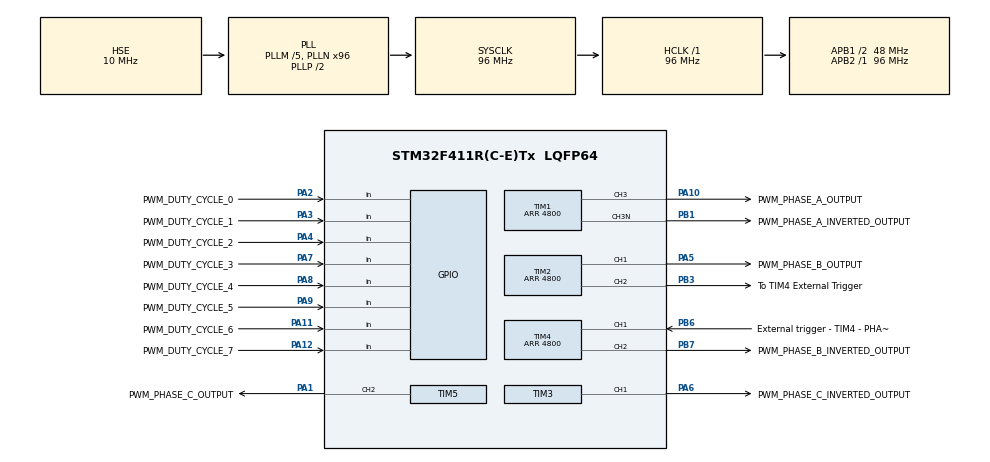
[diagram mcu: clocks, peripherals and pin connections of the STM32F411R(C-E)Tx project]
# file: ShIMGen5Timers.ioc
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Dma.MEMTOMEM.0.Direction=DMA_MEMORY_TO_MEMORY
Dma.MEMTOMEM.0.FIFOMode=DMA_FIFOMODE_ENABLE
Dma.MEMTOMEM.0.FIFOThreshold=DMA_FIFO_THRESHOLD_FULL
Dma.MEMTOMEM.0.Instance=DMA2_Stream1
Dma.MEMTOMEM.0.MemBurst=DMA_MBURST_SINGLE
Dma.MEMTOMEM.0.MemDataAlignment=DMA_MDATAALIGN_WORD
Dma.MEMTOMEM.0.MemInc=DMA_MINC_ENABLE
Dma.MEMTOMEM.0.Mode=DMA_NORMAL
Dma.MEMTOMEM.0.PeriphBurst=DMA_PBURST_SINGLE
Dma.MEMTOMEM.0.PeriphDataAlignment=DMA_PDATAALIGN_WORD
Dma.MEMTOMEM.0.PeriphInc=DMA_PINC_ENABLE
Dma.MEMTOMEM.0.Priority=DMA_PRIORITY_MEDIUM
Dma.Request0=MEMTOMEM
Dma.Request1=TIM5_CH2
Dma.Request2=TIM1_CH1/CH2/CH3
Dma.Request3=TIM2_CH1
Dma.TIM1_CH1/CH2/CH3.2.Direction=DMA_MEMORY_TO_PERIPH
Dma.TIM1_CH1/CH2/CH3.2.FIFOMode=DMA_FIFOMODE_DISABLE
Dma.TIM1_CH1/CH2/CH3.2.Instance=DMA2_Stream6
Dma.TIM1_CH1/CH2/CH3.2.MemDataAlignment=DMA_MDATAALIGN_HALFWORD
Dma.TIM1_CH1/CH2/CH3.2.MemInc=DMA_MINC_ENABLE
Dma.TIM1_CH1/CH2/CH3.2.Mode=DMA_NORMAL
Dma.TIM1_CH1/CH2/CH3.2.PeriphDataAlignment=DMA_PDATAALIGN_HALFWORD
Dma.TIM1_CH1/CH2/CH3.2.PeriphInc=DMA_PINC_DISABLE
Dma.TIM1_CH1/CH2/CH3.2.Priority=DMA_PRIORITY_LOW
Dma.TIM2_CH1.3.Direction=DMA_MEMORY_TO_PERIPH
Dma.TIM2_CH1.3.FIFOMode=DMA_FIFOMODE_DISABLE
Dma.TIM2_CH1.3.Instance=DMA1_Stream5
Dma.TIM2_CH1.3.MemDataAlignment=DMA_MDATAALIGN_HALFWORD
Dma.TIM2_CH1.3.MemInc=DMA_MINC_DISABLE
Dma.TIM2_CH1.3.Mode=DMA_NORMAL
Dma.TIM2_CH1.3.PeriphDataAlignment=DMA_PDATAALIGN_HALFWORD
Dma.TIM2_CH1.3.PeriphInc=DMA_PINC_DISABLE
Dma.TIM2_CH1.3.Priority=DMA_PRIORITY_LOW
Dma.TIM5_CH2.1.Direction=DMA_MEMORY_TO_PERIPH
Dma.TIM5_CH2.1.FIFOMode=DMA_FIFOMODE_DISABLE
Dma.TIM5_CH2.1.Instance=DMA1_Stream4
Dma.TIM5_CH2.1.MemDataAlignment=DMA_MDATAALIGN_HALFWORD
Dma.TIM5_CH2.1.MemInc=DMA_MINC_DISABLE
Dma.TIM5_CH2.1.Mode=DMA_NORMAL
Dma.TIM5_CH2.1.PeriphDataAlignment=DMA_PDATAALIGN_HALFWORD
Dma.TIM5_CH2.1.PeriphInc=DMA_PINC_DISABLE
Dma.TIM5_CH2.1.Priority=DMA_PRIORITY_LOW
Mcu.Family=STM32F4
Mcu.Name=STM32F411R(C-E)Tx
Mcu.Package=LQFP64
NVIC.DMA1_Stream4_IRQn=true\:0\:0\:false\:false\:true
NVIC.DMA1_Stream5_IRQn=true\:0\:0\:false\:false\:true
NVIC.DMA2_Stream6_IRQn=true\:0\:0\:false\:false\:true
NVIC.PriorityGroup=NVIC_PRIORITYGROUP_0
NVIC.TIM1_TRG_COM_TIM11_IRQn=true\:0\:0\:false\:false\:true
PA1.GPIO_Label=PWM_PHASE_C_OUTPUT
PA1.Signal=S_TIM5_CH2
PA10.GPIO_Label=PWM_PHASE_A_OUTPUT
PA10.Signal=S_TIM1_CH3
PA11.GPIO_Label=PWM_DUTY_CYCLE_6
PA11.GPIO_Mode=GPIO_MODE_INPUT
PA11.GPIO_PuPd=GPIO_PULLUP
PA11.Signal=GPIO_Input
PA12.GPIO_Label=PWM_DUTY_CYCLE_7
PA12.GPIO_Mode=GPIO_MODE_INPUT
PA12.GPIO_PuPd=GPIO_PULLUP
PA12.Signal=GPIO_Input
PA2.GPIO_Label=PWM_DUTY_CYCLE_0
PA2.GPIO_Mode=GPIO_MODE_INPUT
PA2.GPIO_PuPd=GPIO_PULLUP
PA2.Signal=GPIO_Input
PA3.GPIO_Label=PWM_DUTY_CYCLE_1
PA3.GPIO_Mode=GPIO_MODE_INPUT
PA3.GPIO_PuPd=GPIO_PULLUP
PA3.Signal=GPIO_Input
PA4.GPIO_Label=PWM_DUTY_CYCLE_2
PA4.GPIO_Mode=GPIO_MODE_INPUT
PA4.GPIO_PuPd=GPIO_PULLUP
PA4.Signal=GPIO_Input
PA5.GPIO_Label=PWM_PHASE_B_OUTPUT
PA5.Signal=S_TIM2_CH1_ETR
PA6.GPIO_Label=PWM_PHASE_C_INVERTED_OUTPUT
PA6.Signal=S_TIM3_CH1
PA7.GPIO_Label=PWM_DUTY_CYCLE_3
PA7.GPIO_Mode=GPIO_MODE_INPUT
PA7.GPIO_PuPd=GPIO_PULLUP
PA7.Signal=GPIO_Input
PA8.GPIO_Label=PWM_DUTY_CYCLE_4
PA8.GPIO_Mode=GPIO_MODE_INPUT
PA8.GPIO_PuPd=GPIO_PULLUP
PA8.Signal=GPIO_Input
PA9.GPIO_Label=PWM_DUTY_CYCLE_5
PA9.GPIO_Mode=GPIO_MODE_INPUT
PA9.GPIO_PuPd=GPIO_PULLUP
PA9.Signal=GPIO_Input
PB1.GPIO_Label=PWM_PHASE_A_INVERTED_OUTPUT
PB1.Mode=PWM Generation3 CH3 CH3N
PB1.Signal=TIM1_CH3N
PB3.GPIO_Label=To TIM4 External Trigger
PB3.Signal=S_TIM2_CH2
PB6.GPIO_Label=External trigger - TIM4 - PHASE_B_INVERTED_DEAD_TIMER
PB6.Signal=S_TIM4_CH1
PB7.GPIO_Label=PWM_PHASE_B_INVERTED_OUTPUT
PB7.Signal=S_TIM4_CH2
PH0\ -\ OSC_IN.Mode=HSE-External-Oscillator
PH0\ -\ OSC_IN.Signal=RCC_OSC_IN
PH1\ -\ OSC_OUT.Mode=HSE-External-Oscillator
PH1\ -\ OSC_OUT.Signal=RCC_OSC_OUT
ProjectManager.HeapSize=0x1000
ProjectManager.StackSize=0x1000
ProjectManager.TargetToolchain=MDK-ARM V5
RCC.48MHZClocksFreq_Value=48000000
RCC.AHBFreq_Value=96000000
RCC.APB1CLKDivider=RCC_HCLK_DIV2
RCC.APB1Freq_Value=48000000
RCC.APB1TimFreq_Value=96000000
RCC.APB2Freq_Value=96000000
RCC.APB2TimFreq_Value=96000000
RCC.CortexFreq_Value=96000000
RCC.EnbaleCSS=true
RCC.FLatency-AdvancedSettings=FLASH_LATENCY_3
RCC.HCLKFreq_Value=96000000
RCC.HSE_VALUE=10000000
RCC.HSI_VALUE=16000000
RCC.LSE_VALUE=32768
RCC.PLLM=5
RCC.PLLN=96
RCC.PLLSourceVirtual=RCC_PLLSOURCE_HSE
RCC.SYSCLKFreq_VALUE=96000000
RCC.SYSCLKSource=RCC_SYSCLKSOURCE_PLLCLK
RCC.VCOOutputFreq_Value=192000000
SH.S_TIM1_CH3.0=TIM1_CH3,PWM Generation3 CH3 CH3N
SH.S_TIM2_CH1_ETR.0=TIM2_CH1,PWM Generation1 CH1
SH.S_TIM2_CH2.0=TIM2_CH2,Output Compare2 CH2
SH.S_TIM3_CH1.0=TIM3_CH1,PWM Generation1 CH1
SH.S_TIM4_CH1.0=TIM4_CH1,TriggerSource_TI1ED
SH.S_TIM4_CH2.0=TIM4_CH2,PWM Generation2 CH2
SH.S_TIM5_CH2.0=TIM5_CH2,PWM Generation2 CH2
TIM1.AutomaticOutput=TIM_AUTOMATICOUTPUT_ENABLE
TIM1.Channel-Output\ Compare4\ No\ Output=TIM_CHANNEL_4
TIM1.Channel-PWM\ Generation3\ CH3\ CH3N=TIM_CHANNEL_3
TIM1.DeadTime=192
TIM1.OCFastMode_PWM-PWM\ Generation3\ CH3\ CH3N=TIM_OCFAST_DISABLE
TIM1.OCIdleState_4=TIM_OCIDLESTATE_RESET
TIM1.OCMode_4=TIM_OCMODE_TOGGLE
TIM1.OffStateIDLEMode=TIM_OSSI_ENABLE
TIM1.OffStateRunMode=TIM_OSSR_ENABLE
TIM1.Period=4800
TIM1.Pulse-Output\ Compare4\ No\ Output=2490
TIM1.Pulse-PWM\ Generation3\ CH3\ CH3N=1292
TIM1.TIM_MasterOutputTrigger=TIM_TRGO_OC4REF
TIM1.TIM_MasterSlaveMode=TIM_MASTERSLAVEMODE_ENABLE
TIM11.OCMode_1=TIM_OCMODE_TOGGLE
TIM11.Period=9999
TIM11.Prescaler=9599
TIM11.Pulse=3999
TIM2.Channel-Output\ Compare2\ CH2=TIM_CHANNEL_2
TIM2.Channel-Output\ Compare4\ No\ Output=TIM_CHANNEL_4
TIM2.OCFastMode_PWM-PWM\ Generation1\ CH1=TIM_OCFAST_ENABLE
TIM2.OCMode_2=TIM_OCMODE_TOGGLE
TIM2.OCMode_4=TIM_OCMODE_TOGGLE
TIM2.Period=4800
TIM2.Pulse-Output\ Compare2\ CH2=1292
TIM2.Pulse-Output\ Compare4\ No\ Output=1596
TIM2.Pulse-PWM\ Generation1\ CH1=1200
TIM2.TIM_MasterOutputTrigger=TIM_TRGO_OC4REF
TIM2.TIM_MasterSlaveMode=TIM_MASTERSLAVEMODE_ENABLE
TIM3.OCFastMode_PWM-PWM\ Generation1\ CH1=TIM_OCFAST_ENABLE
TIM3.OCMode_PWM-PWM\ Generation1\ CH1=TIM_OCMODE_PWM1
TIM3.OCPolarity_1=TIM_OCPOLARITY_HIGH
TIM3.Period=4800
TIM3.Pulse-PWM\ Generation1\ CH1=3318
TIM3.TIM_MasterOutputTrigger=TIM_TRGO_RESET
TIM3.TIM_MasterSlaveMode=TIM_MASTERSLAVEMODE_DISABLE
TIM4.Channel-PWM\ Generation2\ CH2=TIM_CHANNEL_2
TIM4.OCFastMode_PWM-PWM\ Generation2\ CH2=TIM_OCFAST_ENABLE
TIM4.OCMode_PWM-PWM\ Generation2\ CH2=TIM_OCMODE_PWM1
TIM4.Period=4800
TIM4.Pulse-PWM\ Generation2\ CH2=228
TIM4.Slave_TriggerFilter=3
TIM4.TIM_MasterOutputTrigger=TIM_TRGO_RESET
TIM4.TIM_MasterSlaveMode=TIM_MASTERSLAVEMODE_DISABLE
TIM5.Channel-Output\ Compare4\ No\ Output=TIM_CHANNEL_4
TIM5.Channel-PWM\ Generation2\ CH2=TIM_CHANNEL_2
TIM5.OCFastMode_PWM-PWM\ Generation2\ CH2=TIM_OCFAST_ENABLE
TIM5.OCMode_4=TIM_OCMODE_TOGGLE
TIM5.Period=4800
TIM5.Pulse-Output\ Compare4\ No\ Output=1292
TIM5.Pulse-PWM\ Generation2\ CH2=228
TIM5.TIM_MasterOutputTrigger=TIM_TRGO_OC4REF
TIM5.TIM_MasterSlaveMode=TIM_MASTERSLAVEMODE_ENABLE
VP_TIM11_VS_ClockSourceINT.Mode=Enable_Timer
VP_TIM11_VS_no_output1.Mode=Output Compare1 No Output
VP_TIM1_VS_ClockSourceINT.Mode=Internal
VP_TIM1_VS_no_output4.Mode=Output Compare4 No Output
VP_TIM2_VS_ClockSourceINT.Mode=Internal
VP_TIM2_VS_ClockSourceITR.Mode=TriggerSource_ITR0
VP_TIM2_VS_ControllerModeReset.Mode=Reset Mode
VP_TIM2_VS_no_output4.Mode=Output Compare4 No Output
VP_TIM3_VS_ClockSourceINT.Mode=Internal
VP_TIM3_VS_ClockSourceITR.Mode=TriggerSource_ITR2
VP_TIM3_VS_ControllerModeReset.Mode=Reset Mode
VP_TIM4_VS_ClockSourceINT.Mode=Internal
VP_TIM4_VS_ControllerModeReset.Mode=Reset Mode
VP_TIM5_VS_ClockSourceINT.Mode=Internal
VP_TIM5_VS_ClockSourceITR.Mode=TriggerSource_ITR0
VP_TIM5_VS_ControllerModeReset.Mode=Reset Mode
VP_TIM5_VS_no_output4.Mode=Output Compare4 No Output
board=NUCLEO-F411RE

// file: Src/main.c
/**
  ******************************************************************************
  * File Name          : main.c
  * Description        : Main program body
  ******************************************************************************
  *
  * COPYRIGHT(c) 2016 STMicroelectronics
  *
  * Redistribution and use in source and binary forms, with or without modification,
  * are permitted provided that the following conditions are met:
  *   1. Redistributions of source code must retain the above copyright notice,
  *      this list of conditions and the following disclaimer.
  *   2. Redistributions in binary form must reproduce the above copyright notice,
  *      this list of conditions and the following disclaimer in the documentation
  *      and/or other materials provided with the distribution.
  *   3. Neither the name of STMicroelectronics nor the names of its contributors
  *      may be used to endorse or promote products derived from this software
  *      without specific prior written permission.
  *
  * THIS SOFTWARE IS PROVIDED BY THE COPYRIGHT HOLDERS AND CONTRIBUTORS "AS IS"
  * AND ANY EXPRESS OR IMPLIED WARRANTIES, INCLUDING, BUT NOT LIMITED TO, THE
  * IMPLIED WARRANTIES OF MERCHANTABILITY AND FITNESS FOR A PARTICULAR PURPOSE ARE
  * DISCLAIMED. IN NO EVENT SHALL THE COPYRIGHT HOLDER OR CONTRIBUTORS BE LIABLE
  * FOR ANY DIRECT, INDIRECT, INCIDENTAL, SPECIAL, EXEMPLARY, OR CONSEQUENTIAL
  * DAMAGES (INCLUDING, BUT NOT LIMITED TO, PROCUREMENT OF SUBSTITUTE GOODS OR
  * SERVICES; LOSS OF USE, DATA, OR PROFITS; OR BUSINESS INTERRUPTION) HOWEVER
  * CAUSED AND ON ANY THEORY OF LIABILITY, WHETHER IN CONTRACT, STRICT LIABILITY,
  * OR TORT (INCLUDING NEGLIGENCE OR OTHERWISE) ARISING IN ANY WAY OUT OF THE USE
  * OF THIS SOFTWARE, EVEN IF ADVISED OF THE POSSIBILITY OF SUCH DAMAGE.
  *
  ******************************************************************************
  */
#include "stm32f4xx_hal.h"

TIM_HandleTypeDef htim1;
TIM_HandleTypeDef htim2;
TIM_HandleTypeDef htim3;
TIM_HandleTypeDef htim4;
TIM_HandleTypeDef htim5;
TIM_HandleTypeDef htim11;
DMA_HandleTypeDef hdma_tim1_ch1_ch2_ch3;
DMA_HandleTypeDef hdma_tim2_ch1;
DMA_HandleTypeDef hdma_tim5_ch2;

DMA_HandleTypeDef hdma_memtomem_dma2_stream1;

/* USER CODE BEGIN PV */
/* Private variables ---------------------------------------------------------*/
//Button noise rejector counters
//Delay value for button noise rejector above or equal to which the button is considered on
#define BUTTON_ON_DELAY 2000
//Delay value for button noise rejector below or equal to which the button is considered off
#define BUTTON_OFF_DELAY 0
//Current delay values for button noise rejectors
int ButtonNoiseRejectorCounters[8] = {0, 0, 0, 0, 0, 0, 0, 0};
int ButtonNoiseRejectorOn[8] = {0, 0, 0, 0, 0, 0, 0, 0};
/* USER CODE END PV */

void SystemClock_Config(void);
void Error_Handler(void);
static void MX_GPIO_Init(void);
static void MX_DMA_Init(void);
static void MX_TIM1_Init(void);
static void MX_TIM2_Init(void);
static void MX_TIM3_Init(void);
static void MX_TIM4_Init(void);
static void MX_TIM5_Init(void);
static void MX_TIM11_Init(void);

void HAL_TIM_MspPostInit(TIM_HandleTypeDef *htim);

/* USER CODE BEGIN PFP */
/* Private function prototypes -----------------------------------------------*/

/* USER CODE END PFP */

void TuneTimers(int Period)
{
	//Lengths of main output pulses for each channel
	htim1.Instance->CCR3 = Period + 120;
	htim2.Instance->CCR1 = htim5.Instance->CCR2 = Period;
	htim3.Instance->CCR1 = htim4.Instance->CCR2 = 4560 - Period;

	//Synchronization tune-up for timers 3 and 4
	htim2.Instance->CCR2 = Period + 102;
	htim5.Instance->CCR4 = Period + 102;
}

/*
ButtonIndex: a value from 0 to 7
DeltaDutyCycle: a value added to CurrentDutyCycle to be returned by this subroutine.
*/
int ButtonOnHandler (int ButtonIndex, int CurrentDutyCycle, int DeltaDutyCycle)
{
		//Kept pressed - perform action upon being kept pressed
		if (ButtonNoiseRejectorCounters[0] == BUTTON_ON_DELAY)
		{
			return CurrentDutyCycle + DeltaDutyCycle;
		}
		//Pressed just now - start upcounting to BUTTON_ON_DELAY
		else if (ButtonNoiseRejectorCounters[0] < BUTTON_ON_DELAY && ButtonNoiseRejectorCounters[0] >= BUTTON_OFF_DELAY)
		{
			ButtonNoiseRejectorCounters[0] += 1;
		}
		//Error, reinitialization required, next tick will be considered as "Pressed just now"
		else ButtonNoiseRejectorCounters[0] = BUTTON_OFF_DELAY;
		return CurrentDutyCycle;
}

void ButtonOffHandler (int ButtonIndex)
{
		//Kept released - perform action upon being kept released
		if (ButtonNoiseRejectorCounters[0] == BUTTON_OFF_DELAY)
		{

		}
		//Released just now - start downcounting to BUTTON_OFF_DELAY
		else if (ButtonNoiseRejectorCounters[0] <= BUTTON_ON_DELAY && ButtonNoiseRejectorCounters[0] > BUTTON_OFF_DELAY)
		{
			ButtonNoiseRejectorCounters[0] -= 1;
		}
		//Error, reinitialization required
		else ButtonNoiseRejectorCounters[0] = BUTTON_OFF_DELAY;
}

void AnalyzeDutyCycleSetter()
{
	int Temp = 300;

	if (HAL_GPIO_ReadPin (GPIOA, GPIO_PIN_2))
	{
		Temp = ButtonOnHandler (0, Temp, 200);
	}
	else
	{
		ButtonOffHandler(0);
	}

	if (HAL_GPIO_ReadPin (GPIOA, GPIO_PIN_3))
	{
		Temp = ButtonOnHandler (1, Temp, 200);
	}
	else
	{
		ButtonOffHandler(1);
	}
	if (HAL_GPIO_ReadPin (GPIOA, GPIO_PIN_4))
	{
		Temp = ButtonOnHandler (2, Temp, 200);
	}
	else
	{
		ButtonOffHandler(2);
	}
	if (HAL_GPIO_ReadPin (GPIOA, GPIO_PIN_7))
	{
		Temp = ButtonOnHandler (3, Temp, 200);
	}
	else
	{
		ButtonOffHandler(3);
	}
	if (HAL_GPIO_ReadPin (GPIOA, GPIO_PIN_8))
	{
		Temp = ButtonOnHandler (4, Temp, 200);
	}
	else
	{
		ButtonOffHandler(4);
	}
	if (HAL_GPIO_ReadPin (GPIOA, GPIO_PIN_9))
	{
		Temp = ButtonOnHandler (5, Temp, 200);
	}
	else
	{
		ButtonOffHandler(5);
	}
	if (HAL_GPIO_ReadPin (GPIOA, GPIO_PIN_11))
	{
		Temp = ButtonOnHandler (6, Temp, 200);
	}
	else
	{
		ButtonOffHandler(6);
	}
	if (HAL_GPIO_ReadPin (GPIOA, GPIO_PIN_12))
	{
		Temp = ButtonOnHandler (7, Temp, 200);
	}
	else
	{
		ButtonOffHandler(7);
	}

	TuneTimers(Temp);
}

/**
* @brief This function handles TIM1 trigger and commutation interrupts and TIM11 global interrupt.
*/
void TIM1_TRG_COM_TIM11_IRQHandler(void)
{
  HAL_TIM_IRQHandler(&htim1);
  HAL_TIM_IRQHandler(&htim11);
  /* USER CODE BEGIN TIM1_TRG_COM_TIM11_IRQn 1 */
	AnalyzeDutyCycleSetter();
  /* USER CODE END TIM1_TRG_COM_TIM11_IRQn 1 */
}

int main(void)
{

  /* MCU Configuration----------------------------------------------------------*/

  /* Reset of all peripherals, Initializes the Flash interface and the Systick. */
  HAL_Init();

  /* Configure the system clock */
  SystemClock_Config();

  /* Initialize all configured peripherals */
  MX_GPIO_Init();
  MX_DMA_Init();
  MX_TIM1_Init();
  MX_TIM2_Init();
  MX_TIM3_Init();
  MX_TIM4_Init();
  MX_TIM5_Init();
  MX_TIM11_Init();

  /* USER CODE BEGIN 2 */
	HAL_TIM_PWM_Start (&htim1, TIM_CHANNEL_3);
	HAL_TIMEx_PWMN_Start (&htim1, TIM_CHANNEL_3);
	HAL_TIM_OC_Start (&htim1, TIM_CHANNEL_4);

	HAL_TIM_PWM_Start (&htim2, TIM_CHANNEL_1);
	HAL_TIM_OC_Start (&htim2, TIM_CHANNEL_2);
	HAL_TIM_OC_Start (&htim2, TIM_CHANNEL_4);

	HAL_TIM_PWM_Start (&htim5, TIM_CHANNEL_2);
	HAL_TIM_OC_Start (&htim5, TIM_CHANNEL_4);

	HAL_TIM_PWM_Start (&htim4, TIM_CHANNEL_2);
	HAL_TIM_PWM_Start (&htim3, TIM_CHANNEL_1);

	//TuneTimers(1200);

	HAL_TIM_OC_Start (&htim11, TIM_CHANNEL_1);
  /* USER CODE END 2 */
	htim11.Instance->DIER |= TIM_DIER_UIE;
  /* Infinite loop */
  while (1)
  {

  }

}

/** System Clock Configuration
*/
void SystemClock_Config(void)
{

  RCC_OscInitTypeDef RCC_OscInitStruct;
  RCC_ClkInitTypeDef RCC_ClkInitStruct;

  __HAL_RCC_PWR_CLK_ENABLE();

  __HAL_PWR_VOLTAGESCALING_CONFIG(PWR_REGULATOR_VOLTAGE_SCALE1);

  RCC_OscInitStruct.OscillatorType = RCC_OSCILLATORTYPE_HSE;
  RCC_OscInitStruct.HSEState = RCC_HSE_ON;
  RCC_OscInitStruct.PLL.PLLState = RCC_PLL_ON;
  RCC_OscInitStruct.PLL.PLLSource = RCC_PLLSOURCE_HSE;
  RCC_OscInitStruct.PLL.PLLM = 5;
  RCC_OscInitStruct.PLL.PLLN = 96;
  RCC_OscInitStruct.PLL.PLLP = RCC_PLLP_DIV2;
  RCC_OscInitStruct.PLL.PLLQ = 4;
  if (HAL_RCC_OscConfig(&RCC_OscInitStruct) != HAL_OK)
  {
    Error_Handler();
  }

  RCC_ClkInitStruct.ClockType = RCC_CLOCKTYPE_HCLK|RCC_CLOCKTYPE_SYSCLK
                              |RCC_CLOCKTYPE_PCLK1|RCC_CLOCKTYPE_PCLK2;
  RCC_ClkInitStruct.SYSCLKSource = RCC_SYSCLKSOURCE_PLLCLK;
  RCC_ClkInitStruct.AHBCLKDivider = RCC_SYSCLK_DIV1;
  RCC_ClkInitStruct.APB1CLKDivider = RCC_HCLK_DIV2;
  RCC_ClkInitStruct.APB2CLKDivider = RCC_HCLK_DIV1;
  if (HAL_RCC_ClockConfig(&RCC_ClkInitStruct, FLASH_LATENCY_3) != HAL_OK)
  {
    Error_Handler();
  }

  HAL_RCC_EnableCSS();

  HAL_SYSTICK_Config(HAL_RCC_GetHCLKFreq()/1000);

  HAL_SYSTICK_CLKSourceConfig(SYSTICK_CLKSOURCE_HCLK);

  /* SysTick_IRQn interrupt configuration */
  HAL_NVIC_SetPriority(SysTick_IRQn, 0, 0);
}

/* TIM1 init function */
static void MX_TIM1_Init(void)
{

  TIM_ClockConfigTypeDef sClockSourceConfig;
  TIM_MasterConfigTypeDef sMasterConfig;
  TIM_BreakDeadTimeConfigTypeDef sBreakDeadTimeConfig;
  TIM_OC_InitTypeDef sConfigOC;

  htim1.Instance = TIM1;
  htim1.Init.Prescaler = 0;
  htim1.Init.CounterMode = TIM_COUNTERMODE_UP;
  htim1.Init.Period = 4800;
  htim1.Init.ClockDivision = TIM_CLOCKDIVISION_DIV1;
  htim1.Init.RepetitionCounter = 0;
  if (HAL_TIM_Base_Init(&htim1) != HAL_OK)
  {
    Error_Handler();
  }

  sClockSourceConfig.ClockSource = TIM_CLOCKSOURCE_INTERNAL;
  if (HAL_TIM_ConfigClockSource(&htim1, &sClockSourceConfig) != HAL_OK)
  {
    Error_Handler();
  }

  if (HAL_TIM_PWM_Init(&htim1) != HAL_OK)
  {
    Error_Handler();
  }

  if (HAL_TIM_OC_Init(&htim1) != HAL_OK)
  {
    Error_Handler();
  }

  sMasterConfig.MasterOutputTrigger = TIM_TRGO_OC4REF;
  sMasterConfig.MasterSlaveMode = TIM_MASTERSLAVEMODE_ENABLE;
  if (HAL_TIMEx_MasterConfigSynchronization(&htim1, &sMasterConfig) != HAL_OK)
  {
    Error_Handler();
  }

  sBreakDeadTimeConfig.OffStateRunMode = TIM_OSSR_ENABLE;
  sBreakDeadTimeConfig.OffStateIDLEMode = TIM_OSSI_ENABLE;
  sBreakDeadTimeConfig.LockLevel = TIM_LOCKLEVEL_OFF;
  sBreakDeadTimeConfig.DeadTime = 120;
  sBreakDeadTimeConfig.BreakState = TIM_BREAK_DISABLE;
  sBreakDeadTimeConfig.BreakPolarity = TIM_BREAKPOLARITY_HIGH;
  sBreakDeadTimeConfig.AutomaticOutput = TIM_AUTOMATICOUTPUT_ENABLE;
  if (HAL_TIMEx_ConfigBreakDeadTime(&htim1, &sBreakDeadTimeConfig) != HAL_OK)
  {
    Error_Handler();
  }

  sConfigOC.OCMode = TIM_OCMODE_PWM1;
  sConfigOC.Pulse = 1292;
  sConfigOC.OCPolarity = TIM_OCPOLARITY_HIGH;
  sConfigOC.OCNPolarity = TIM_OCNPOLARITY_HIGH;
  sConfigOC.OCFastMode = TIM_OCFAST_DISABLE;
  sConfigOC.OCIdleState = TIM_OCIDLESTATE_RESET;
  sConfigOC.OCNIdleState = TIM_OCNIDLESTATE_RESET;
  if (HAL_TIM_PWM_ConfigChannel(&htim1, &sConfigOC, TIM_CHANNEL_3) != HAL_OK)
  {
    Error_Handler();
  }

  sConfigOC.OCMode = TIM_OCMODE_TOGGLE;
  sConfigOC.Pulse = 2520;
  if (HAL_TIM_OC_ConfigChannel(&htim1, &sConfigOC, TIM_CHANNEL_4) != HAL_OK)
  {
    Error_Handler();
  }

  HAL_TIM_MspPostInit(&htim1);

}

/* TIM2 init function */
static void MX_TIM2_Init(void)
{

  TIM_ClockConfigTypeDef sClockSourceConfig;
  TIM_SlaveConfigTypeDef sSlaveConfig;
  TIM_MasterConfigTypeDef sMasterConfig;
  TIM_OC_InitTypeDef sConfigOC;

  htim2.Instance = TIM2;
  htim2.Init.Prescaler = 0;
  htim2.Init.CounterMode = TIM_COUNTERMODE_UP;
  htim2.Init.Period = 4800;
  htim2.Init.ClockDivision = TIM_CLOCKDIVISION_DIV1;
  if (HAL_TIM_Base_Init(&htim2) != HAL_OK)
  {
    Error_Handler();
  }

  sClockSourceConfig.ClockSource = TIM_CLOCKSOURCE_INTERNAL;
  if (HAL_TIM_ConfigClockSource(&htim2, &sClockSourceConfig) != HAL_OK)
  {
    Error_Handler();
  }

  if (HAL_TIM_PWM_Init(&htim2) != HAL_OK)
  {
    Error_Handler();
  }

  if (HAL_TIM_OC_Init(&htim2) != HAL_OK)
  {
    Error_Handler();
  }

  sSlaveConfig.SlaveMode = TIM_SLAVEMODE_RESET;
  sSlaveConfig.InputTrigger = TIM_TS_ITR0;
  if (HAL_TIM_SlaveConfigSynchronization(&htim2, &sSlaveConfig) != HAL_OK)
  {
    Error_Handler();
  }

  sMasterConfig.MasterOutputTrigger = TIM_TRGO_OC4REF;
  sMasterConfig.MasterSlaveMode = TIM_MASTERSLAVEMODE_ENABLE;
  if (HAL_TIMEx_MasterConfigSynchronization(&htim2, &sMasterConfig) != HAL_OK)
  {
    Error_Handler();
  }

  sConfigOC.OCMode = TIM_OCMODE_PWM1;
  sConfigOC.Pulse = 1200;
  sConfigOC.OCPolarity = TIM_OCPOLARITY_HIGH;
  sConfigOC.OCFastMode = TIM_OCFAST_ENABLE;
  if (HAL_TIM_PWM_ConfigChannel(&htim2, &sConfigOC, TIM_CHANNEL_1) != HAL_OK)
  {
    Error_Handler();
  }

  sConfigOC.OCMode = TIM_OCMODE_TOGGLE;
  sConfigOC.Pulse = 1292;
  sConfigOC.OCFastMode = TIM_OCFAST_DISABLE;
  if (HAL_TIM_OC_ConfigChannel(&htim2, &sConfigOC, TIM_CHANNEL_2) != HAL_OK)
  {
    Error_Handler();
  }

  sConfigOC.Pulse = 1596;
  if (HAL_TIM_OC_ConfigChannel(&htim2, &sConfigOC, TIM_CHANNEL_4) != HAL_OK)
  {
    Error_Handler();
  }

  HAL_TIM_MspPostInit(&htim2);

}

/* TIM3 init function */
static void MX_TIM3_Init(void)
{

  TIM_ClockConfigTypeDef sClockSourceConfig;
  TIM_SlaveConfigTypeDef sSlaveConfig;
  TIM_MasterConfigTypeDef sMasterConfig;
  TIM_OC_InitTypeDef sConfigOC;

  htim3.Instance = TIM3;
  htim3.Init.Prescaler = 0;
  htim3.Init.CounterMode = TIM_COUNTERMODE_UP;
  htim3.Init.Period = 4800;
  htim3.Init.ClockDivision = TIM_CLOCKDIVISION_DIV1;
  if (HAL_TIM_Base_Init(&htim3) != HAL_OK)
  {
    Error_Handler();
  }

  sClockSourceConfig.ClockSource = TIM_CLOCKSOURCE_INTERNAL;
  if (HAL_TIM_ConfigClockSource(&htim3, &sClockSourceConfig) != HAL_OK)
  {
    Error_Handler();
  }

  if (HAL_TIM_PWM_Init(&htim3) != HAL_OK)
  {
    Error_Handler();
  }

  sSlaveConfig.SlaveMode = TIM_SLAVEMODE_RESET;
  sSlaveConfig.InputTrigger = TIM_TS_ITR2;
  if (HAL_TIM_SlaveConfigSynchronization(&htim3, &sSlaveConfig) != HAL_OK)
  {
    Error_Handler();
  }

  sMasterConfig.MasterOutputTrigger = TIM_TRGO_RESET;
  sMasterConfig.MasterSlaveMode = TIM_MASTERSLAVEMODE_DISABLE;
  if (HAL_TIMEx_MasterConfigSynchronization(&htim3, &sMasterConfig) != HAL_OK)
  {
    Error_Handler();
  }

  sConfigOC.OCMode = TIM_OCMODE_PWM1;
  sConfigOC.Pulse = 3318;
  sConfigOC.OCPolarity = TIM_OCPOLARITY_HIGH;
  sConfigOC.OCFastMode = TIM_OCFAST_ENABLE;
  if (HAL_TIM_PWM_ConfigChannel(&htim3, &sConfigOC, TIM_CHANNEL_1) != HAL_OK)
  {
    Error_Handler();
  }

  HAL_TIM_MspPostInit(&htim3);

}

/* TIM4 init function */
static void MX_TIM4_Init(void)
{

  TIM_ClockConfigTypeDef sClockSourceConfig;
  TIM_SlaveConfigTypeDef sSlaveConfig;
  TIM_MasterConfigTypeDef sMasterConfig;
  TIM_OC_InitTypeDef sConfigOC;

  htim4.Instance = TIM4;
  htim4.Init.Prescaler = 0;
  htim4.Init.CounterMode = TIM_COUNTERMODE_UP;
  htim4.Init.Period = 4800;
  htim4.Init.ClockDivision = TIM_CLOCKDIVISION_DIV1;
  if (HAL_TIM_Base_Init(&htim4) != HAL_OK)
  {
    Error_Handler();
  }

  sClockSourceConfig.ClockSource = TIM_CLOCKSOURCE_INTERNAL;
  if (HAL_TIM_ConfigClockSource(&htim4, &sClockSourceConfig) != HAL_OK)
  {
    Error_Handler();
  }

  if (HAL_TIM_PWM_Init(&htim4) != HAL_OK)
  {
    Error_Handler();
  }

  sSlaveConfig.SlaveMode = TIM_SLAVEMODE_RESET;
  sSlaveConfig.InputTrigger = TIM_TS_TI1F_ED;
  sSlaveConfig.TriggerFilter = 3;
  if (HAL_TIM_SlaveConfigSynchronization(&htim4, &sSlaveConfig) != HAL_OK)
  {
    Error_Handler();
  }

  sMasterConfig.MasterOutputTrigger = TIM_TRGO_RESET;
  sMasterConfig.MasterSlaveMode = TIM_MASTERSLAVEMODE_DISABLE;
  if (HAL_TIMEx_MasterConfigSynchronization(&htim4, &sMasterConfig) != HAL_OK)
  {
    Error_Handler();
  }

  sConfigOC.OCMode = TIM_OCMODE_PWM1;
  sConfigOC.Pulse = 228;
  sConfigOC.OCPolarity = TIM_OCPOLARITY_HIGH;
  sConfigOC.OCFastMode = TIM_OCFAST_ENABLE;
  if (HAL_TIM_PWM_ConfigChannel(&htim4, &sConfigOC, TIM_CHANNEL_2) != HAL_OK)
  {
    Error_Handler();
  }

  HAL_TIM_MspPostInit(&htim4);

}

/* TIM5 init function */
static void MX_TIM5_Init(void)
{

  TIM_ClockConfigTypeDef sClockSourceConfig;
  TIM_SlaveConfigTypeDef sSlaveConfig;
  TIM_MasterConfigTypeDef sMasterConfig;
  TIM_OC_InitTypeDef sConfigOC;

  htim5.Instance = TIM5;
  htim5.Init.Prescaler = 0;
  htim5.Init.CounterMode = TIM_COUNTERMODE_UP;
  htim5.Init.Period = 4800;
  htim5.Init.ClockDivision = TIM_CLOCKDIVISION_DIV1;
  if (HAL_TIM_Base_Init(&htim5) != HAL_OK)
  {
    Error_Handler();
  }

  sClockSourceConfig.ClockSource = TIM_CLOCKSOURCE_INTERNAL;
  if (HAL_TIM_ConfigClockSource(&htim5, &sClockSourceConfig) != HAL_OK)
  {
    Error_Handler();
  }

  if (HAL_TIM_PWM_Init(&htim5) != HAL_OK)
  {
    Error_Handler();
  }

  if (HAL_TIM_OC_Init(&htim5) != HAL_OK)
  {
    Error_Handler();
  }

  sSlaveConfig.SlaveMode = TIM_SLAVEMODE_RESET;
  sSlaveConfig.InputTrigger = TIM_TS_ITR0;
  if (HAL_TIM_SlaveConfigSynchronization(&htim5, &sSlaveConfig) != HAL_OK)
  {
    Error_Handler();
  }

  sMasterConfig.MasterOutputTrigger = TIM_TRGO_OC4REF;
  sMasterConfig.MasterSlaveMode = TIM_MASTERSLAVEMODE_ENABLE;
  if (HAL_TIMEx_MasterConfigSynchronization(&htim5, &sMasterConfig) != HAL_OK)
  {
    Error_Handler();
  }

  sConfigOC.OCMode = TIM_OCMODE_PWM1;
  sConfigOC.Pulse = 228;
  sConfigOC.OCPolarity = TIM_OCPOLARITY_HIGH;
  sConfigOC.OCFastMode = TIM_OCFAST_ENABLE;
  if (HAL_TIM_PWM_ConfigChannel(&htim5, &sConfigOC, TIM_CHANNEL_2) != HAL_OK)
  {
    Error_Handler();
  }

  sConfigOC.OCMode = TIM_OCMODE_TOGGLE;
  sConfigOC.Pulse = 1292;
  sConfigOC.OCFastMode = TIM_OCFAST_DISABLE;
  if (HAL_TIM_OC_ConfigChannel(&htim5, &sConfigOC, TIM_CHANNEL_4) != HAL_OK)
  {
    Error_Handler();
  }

  HAL_TIM_MspPostInit(&htim5);

}

/* TIM11 init function */
static void MX_TIM11_Init(void)
{

  TIM_OC_InitTypeDef sConfigOC;

  htim11.Instance = TIM11;
  htim11.Init.Prescaler = 0;
  htim11.Init.CounterMode = TIM_COUNTERMODE_UP;
  htim11.Init.Period = 9999;
  htim11.Init.ClockDivision = TIM_CLOCKDIVISION_DIV1;
  if (HAL_TIM_Base_Init(&htim11) != HAL_OK)
  {
    Error_Handler();
  }

  if (HAL_TIM_OC_Init(&htim11) != HAL_OK)
  {
    Error_Handler();
  }

  sConfigOC.OCMode = TIM_OCMODE_TOGGLE;
  sConfigOC.Pulse = 3999;
  sConfigOC.OCPolarity = TIM_OCPOLARITY_HIGH;
  sConfigOC.OCFastMode = TIM_OCFAST_DISABLE;
  if (HAL_TIM_OC_ConfigChannel(&htim11, &sConfigOC, TIM_CHANNEL_1) != HAL_OK)
  {
    Error_Handler();
  }

}

static void MX_DMA_Init(void)
{
  /* DMA controller clock enable */
  __HAL_RCC_DMA2_CLK_ENABLE();
  __HAL_RCC_DMA1_CLK_ENABLE();

  /* Configure DMA request hdma_memtomem_dma2_stream1 on DMA2_Stream1 */
  hdma_memtomem_dma2_stream1.Instance = DMA2_Stream1;
  hdma_memtomem_dma2_stream1.Init.Channel = DMA_CHANNEL_0;
  hdma_memtomem_dma2_stream1.Init.Direction = DMA_MEMORY_TO_MEMORY;
  hdma_memtomem_dma2_stream1.Init.PeriphInc = DMA_PINC_ENABLE;
  hdma_memtomem_dma2_stream1.Init.MemInc = DMA_MINC_ENABLE;
  hdma_memtomem_dma2_stream1.Init.PeriphDataAlignment = DMA_PDATAALIGN_WORD;
  hdma_memtomem_dma2_stream1.Init.MemDataAlignment = DMA_MDATAALIGN_WORD;
  hdma_memtomem_dma2_stream1.Init.Mode = DMA_NORMAL;
  hdma_memtomem_dma2_stream1.Init.Priority = DMA_PRIORITY_MEDIUM;
  hdma_memtomem_dma2_stream1.Init.FIFOMode = DMA_FIFOMODE_ENABLE;
  hdma_memtomem_dma2_stream1.Init.FIFOThreshold = DMA_FIFO_THRESHOLD_FULL;
  hdma_memtomem_dma2_stream1.Init.MemBurst = DMA_MBURST_SINGLE;
  hdma_memtomem_dma2_stream1.Init.PeriphBurst = DMA_PBURST_SINGLE;
  if (HAL_DMA_Init(&hdma_memtomem_dma2_stream1) != HAL_OK)
  {
    Error_Handler();
  }

  /* DMA interrupt init */
  /* DMA1_Stream4_IRQn interrupt configuration */
  HAL_NVIC_SetPriority(DMA1_Stream4_IRQn, 0, 0);
  HAL_NVIC_EnableIRQ(DMA1_Stream4_IRQn);
  /* DMA1_Stream5_IRQn interrupt configuration */
  HAL_NVIC_SetPriority(DMA1_Stream5_IRQn, 0, 0);
  HAL_NVIC_EnableIRQ(DMA1_Stream5_IRQn);
  /* DMA2_Stream6_IRQn interrupt configuration */
  HAL_NVIC_SetPriority(DMA2_Stream6_IRQn, 0, 0);
  HAL_NVIC_EnableIRQ(DMA2_Stream6_IRQn);

}

/** Configure pins as
        * Analog
        * Input
        * Output
        * EVENT_OUT
        * EXTI
*/
static void MX_GPIO_Init(void)
{

  GPIO_InitTypeDef GPIO_InitStruct;

  /* GPIO Ports Clock Enable */
  __HAL_RCC_GPIOH_CLK_ENABLE();
  __HAL_RCC_GPIOA_CLK_ENABLE();
  __HAL_RCC_GPIOB_CLK_ENABLE();

  /*Configure GPIO pins : PWM_DUTY_CYCLE_0_Pin PWM_DUTY_CYCLE_1_Pin PWM_DUTY_CYCLE_2_Pin PWM_DUTY_CYCLE_3_Pin
                           PWM_DUTY_CYCLE_4_Pin PWM_DUTY_CYCLE_5_Pin PWM_DUTY_CYCLE_6_Pin PWM_DUTY_CYCLE_7_Pin */
  GPIO_InitStruct.Pin = PWM_DUTY_CYCLE_0_Pin|PWM_DUTY_CYCLE_1_Pin|PWM_DUTY_CYCLE_2_Pin|PWM_DUTY_CYCLE_3_Pin
                          |PWM_DUTY_CYCLE_4_Pin|PWM_DUTY_CYCLE_5_Pin|PWM_DUTY_CYCLE_6_Pin|PWM_DUTY_CYCLE_7_Pin;
  GPIO_InitStruct.Mode = GPIO_MODE_INPUT;
  GPIO_InitStruct.Pull = GPIO_PULLUP;
  HAL_GPIO_Init(GPIOA, &GPIO_InitStruct);

}

void Error_Handler(void)
{
  while(1)
  {
  }
}

/************************ (C) COPYRIGHT STMicroelectronics *****END OF FILE****/
